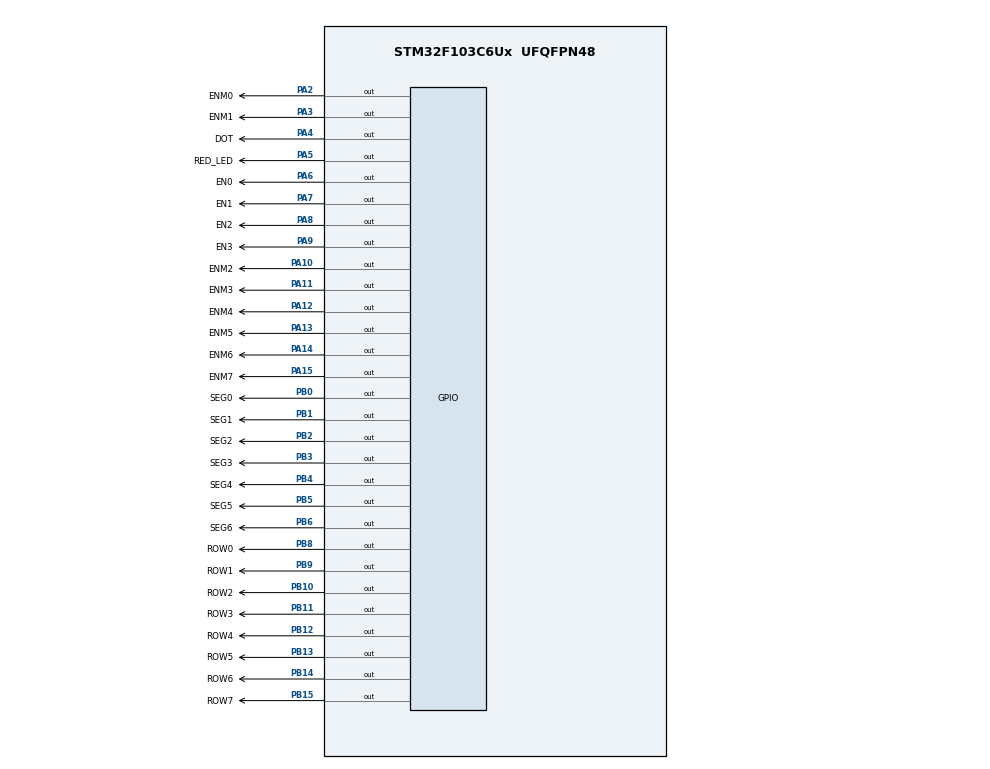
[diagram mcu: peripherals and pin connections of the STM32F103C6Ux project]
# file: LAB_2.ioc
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Mcu.Family=STM32F1
Mcu.Name=STM32F103C6Ux
Mcu.Package=UFQFPN48
NVIC.PriorityGroup=NVIC_PRIORITYGROUP_4
NVIC.TIM2_IRQn=true\:0\:0\:false\:false\:true\:true\:true
PA10.GPIO_Label=ENM2
PA10.Signal=GPIO_Output
PA11.GPIO_Label=ENM3
PA11.Signal=GPIO_Output
PA12.GPIO_Label=ENM4
PA12.Signal=GPIO_Output
PA13.GPIO_Label=ENM5
PA13.Signal=GPIO_Output
PA14.GPIO_Label=ENM6
PA14.Signal=GPIO_Output
PA15.GPIO_Label=ENM7
PA15.Signal=GPIO_Output
PA2.GPIO_Label=ENM0
PA2.Signal=GPIO_Output
PA3.GPIO_Label=ENM1
PA3.Signal=GPIO_Output
PA4.GPIO_Label=DOT
PA4.Signal=GPIO_Output
PA5.GPIO_Label=RED_LED
PA5.Signal=GPIO_Output
PA6.GPIO_Label=EN0
PA6.Signal=GPIO_Output
PA7.GPIO_Label=EN1
PA7.Signal=GPIO_Output
PA8.GPIO_Label=EN2
PA8.Signal=GPIO_Output
PA9.GPIO_Label=EN3
PA9.Signal=GPIO_Output
PB0.GPIO_Label=SEG0
PB0.Signal=GPIO_Output
PB1.GPIO_Label=SEG1
PB1.Signal=GPIO_Output
PB10.GPIO_Label=ROW2
PB10.Signal=GPIO_Output
PB11.GPIO_Label=ROW3
PB11.Signal=GPIO_Output
PB12.GPIO_Label=ROW4
PB12.Signal=GPIO_Output
PB13.GPIO_Label=ROW5
PB13.Signal=GPIO_Output
PB14.GPIO_Label=ROW6
PB14.Signal=GPIO_Output
PB15.GPIO_Label=ROW7
PB15.Signal=GPIO_Output
PB2.GPIO_Label=SEG2
PB2.Signal=GPIO_Output
PB3.GPIO_Label=SEG3
PB3.Signal=GPIO_Output
PB4.GPIO_Label=SEG4
PB4.Signal=GPIO_Output
PB5.GPIO_Label=SEG5
PB5.Signal=GPIO_Output
PB6.GPIO_Label=SEG6
PB6.Signal=GPIO_Output
PB8.GPIO_Label=ROW0
PB8.Signal=GPIO_Output
PB9.GPIO_Label=ROW1
PB9.Signal=GPIO_Output
ProjectManager.HeapSize=0x200
ProjectManager.StackSize=0x400
ProjectManager.TargetToolchain=STM32CubeIDE
RCC.APB1Freq_Value=8000000
RCC.APB2Freq_Value=8000000
TIM2.Period=9
TIM2.Prescaler=7999
VP_SYS_VS_ND.Mode=No_Debug
VP_TIM2_VS_ClockSourceINT.Mode=Internal
board=custom

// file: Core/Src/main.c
/* USER CODE BEGIN Header */
/**
  ******************************************************************************
  * @file           : main.c
  * @brief          : Main program body
  ******************************************************************************
  * @attention
  *
  * <h2><center>&copy; Copyright (c) 2025 STMicroelectronics.
  * All rights reserved.</center></h2>
  *
  * This software component is licensed by ST under BSD 3-Clause license,
  * the "License"; You may not use this file except in compliance with the
  * License. You may obtain a copy of the License at:
  *                        opensource.org/licenses/BSD-3-Clause
  *
  ******************************************************************************
  */
/* USER CODE END Header */
#include "main.h"

/* USER CODE BEGIN Includes */
#include "software_timer.h"
#include "ex10.h"
/* USER CODE END Includes */

TIM_HandleTypeDef htim2;

void SystemClock_Config(void);
static void MX_GPIO_Init(void);
static void MX_TIM2_Init(void);

int main(void)
{

  /* MCU Configuration--------------------------------------------------------*/

  /* Reset of all peripherals, Initializes the Flash interface and the Systick. */
  HAL_Init();

  /* USER CODE BEGIN Init */
void ValidPin(int index);
void display7SEG(int num);
  /* USER CODE END Init */

  /* Configure the system clock */
  SystemClock_Config();

  /* Initialize all configured peripherals */
  MX_GPIO_Init();
  MX_TIM2_Init();
  /* USER CODE BEGIN 2 */
  HAL_TIM_Base_Start_IT(&htim2);
  /* USER CODE END 2 */

  /* Infinite loop */
  /* USER CODE BEGIN WHILE */
  int index_led = 0;
  int index_led_matrix = 0;
  hour = 12, minute = 20, second = 55;

  HAL_GPIO_WritePin(GPIOA, DOT_Pin, SET);
  HAL_GPIO_WritePin(GPIOA, RED_LED_Pin, SET);

  clearAll();
  setTimer(0, 200);
  setTimer(1, 300);
  setTimer(2, 500);
  setTimer(3, 100);
  timer_flag[0] = timer_flag[1] = timer_flag[2] = timer_flag[3] = 1;
  int t = 0;
  while (1)
  {
  	  if (timer_flag[0] == 1){
  		  setTimer(0, 1000);
  		  //TODO PA5
  		  HAL_GPIO_TogglePin(RED_LED_GPIO_Port, RED_LED_Pin);
  		  HAL_GPIO_TogglePin(DOT_GPIO_Port, DOT_Pin);
  	  }
  	  if (timer_flag[1] == 1){
  		  setTimer(1, 250);
  		  //TASK MAIN
  		  update7SEG(index_led);
  		  index_led = (index_led + 1) % 4;
  	  }
  	  if (timer_flag[2] == 1){
  		  setTimer(2, 1000);
  		  second++;
  		  if (second >= 60){
  			  second = 0;
  			  minute++;
  		  }
  		  if (minute >= 60){
  			  minute = 0;
  			  hour++;
  		  }
  		  if (hour >= 24){
  			  hour = 0;
  		  }
  		  updateClockBuffer();
  	  }
  	  if (timer_flag[3] == 1){
  		  setTimer(3, 10);
  		  updateLEDMatrix(index_led_matrix);
  		  index_led_matrix = (index_led_matrix + 1) % 8;
  		  t++;
  		  if (t >= 8){
  			  shiftMatrixLeft();
  			  t = 0;
  		  }
  	  }
    /* USER CODE END WHILE */

  }
}

void SystemClock_Config(void)
{
  RCC_OscInitTypeDef RCC_OscInitStruct = {0};
  RCC_ClkInitTypeDef RCC_ClkInitStruct = {0};

  /** Initializes the RCC Oscillators according to the specified parameters
  * in the RCC_OscInitTypeDef structure.
  */
  RCC_OscInitStruct.OscillatorType = RCC_OSCILLATORTYPE_HSI;
  RCC_OscInitStruct.HSIState = RCC_HSI_ON;
  RCC_OscInitStruct.HSICalibrationValue = RCC_HSICALIBRATION_DEFAULT;
  RCC_OscInitStruct.PLL.PLLState = RCC_PLL_NONE;
  if (HAL_RCC_OscConfig(&RCC_OscInitStruct) != HAL_OK)
  {
    Error_Handler();
  }
  /** Initializes the CPU, AHB and APB buses clocks
  */
  RCC_ClkInitStruct.ClockType = RCC_CLOCKTYPE_HCLK|RCC_CLOCKTYPE_SYSCLK
                              |RCC_CLOCKTYPE_PCLK1|RCC_CLOCKTYPE_PCLK2;
  RCC_ClkInitStruct.SYSCLKSource = RCC_SYSCLKSOURCE_HSI;
  RCC_ClkInitStruct.AHBCLKDivider = RCC_SYSCLK_DIV1;
  RCC_ClkInitStruct.APB1CLKDivider = RCC_HCLK_DIV1;
  RCC_ClkInitStruct.APB2CLKDivider = RCC_HCLK_DIV1;

  if (HAL_RCC_ClockConfig(&RCC_ClkInitStruct, FLASH_LATENCY_0) != HAL_OK)
  {
    Error_Handler();
  }
}

static void MX_TIM2_Init(void)
{

  TIM_ClockConfigTypeDef sClockSourceConfig = {0};
  TIM_MasterConfigTypeDef sMasterConfig = {0};

  htim2.Instance = TIM2;
  htim2.Init.Prescaler = 7999;
  htim2.Init.CounterMode = TIM_COUNTERMODE_UP;
  htim2.Init.Period = 9;
  htim2.Init.ClockDivision = TIM_CLOCKDIVISION_DIV1;
  htim2.Init.AutoReloadPreload = TIM_AUTORELOAD_PRELOAD_DISABLE;
  if (HAL_TIM_Base_Init(&htim2) != HAL_OK)
  {
    Error_Handler();
  }
  sClockSourceConfig.ClockSource = TIM_CLOCKSOURCE_INTERNAL;
  if (HAL_TIM_ConfigClockSource(&htim2, &sClockSourceConfig) != HAL_OK)
  {
    Error_Handler();
  }
  sMasterConfig.MasterOutputTrigger = TIM_TRGO_RESET;
  sMasterConfig.MasterSlaveMode = TIM_MASTERSLAVEMODE_DISABLE;
  if (HAL_TIMEx_MasterConfigSynchronization(&htim2, &sMasterConfig) != HAL_OK)
  {
    Error_Handler();
  }

}

static void MX_GPIO_Init(void)
{
  GPIO_InitTypeDef GPIO_InitStruct = {0};

  /* GPIO Ports Clock Enable */
  __HAL_RCC_GPIOA_CLK_ENABLE();
  __HAL_RCC_GPIOB_CLK_ENABLE();

  /*Configure GPIO pin Output Level */
  HAL_GPIO_WritePin(GPIOA, ENM0_Pin|ENM1_Pin|DOT_Pin|RED_LED_Pin
                          |EN0_Pin|EN1_Pin|EN2_Pin|EN3_Pin
                          |ENM2_Pin|ENM3_Pin|ENM4_Pin|ENM5_Pin
                          |ENM6_Pin|ENM7_Pin, GPIO_PIN_RESET);

  /*Configure GPIO pin Output Level */
  HAL_GPIO_WritePin(GPIOB, SEG0_Pin|SEG1_Pin|SEG2_Pin|ROW2_Pin
                          |ROW3_Pin|ROW4_Pin|ROW5_Pin|ROW6_Pin
                          |ROW7_Pin|SEG3_Pin|SEG4_Pin|SEG5_Pin
                          |SEG6_Pin|ROW0_Pin|ROW1_Pin, GPIO_PIN_RESET);

  /*Configure GPIO pins : ENM0_Pin ENM1_Pin DOT_Pin RED_LED_Pin
                           EN0_Pin EN1_Pin EN2_Pin EN3_Pin
                           ENM2_Pin ENM3_Pin ENM4_Pin ENM5_Pin
                           ENM6_Pin ENM7_Pin */
  GPIO_InitStruct.Pin = ENM0_Pin|ENM1_Pin|DOT_Pin|RED_LED_Pin
                          |EN0_Pin|EN1_Pin|EN2_Pin|EN3_Pin
                          |ENM2_Pin|ENM3_Pin|ENM4_Pin|ENM5_Pin
                          |ENM6_Pin|ENM7_Pin;
  GPIO_InitStruct.Mode = GPIO_MODE_OUTPUT_PP;
  GPIO_InitStruct.Pull = GPIO_NOPULL;
  GPIO_InitStruct.Speed = GPIO_SPEED_FREQ_LOW;
  HAL_GPIO_Init(GPIOA, &GPIO_InitStruct);

  /*Configure GPIO pins : SEG0_Pin SEG1_Pin SEG2_Pin ROW2_Pin
                           ROW3_Pin ROW4_Pin ROW5_Pin ROW6_Pin
                           ROW7_Pin SEG3_Pin SEG4_Pin SEG5_Pin
                           SEG6_Pin ROW0_Pin ROW1_Pin */
  GPIO_InitStruct.Pin = SEG0_Pin|SEG1_Pin|SEG2_Pin|ROW2_Pin
                          |ROW3_Pin|ROW4_Pin|ROW5_Pin|ROW6_Pin
                          |ROW7_Pin|SEG3_Pin|SEG4_Pin|SEG5_Pin
                          |SEG6_Pin|ROW0_Pin|ROW1_Pin;
  GPIO_InitStruct.Mode = GPIO_MODE_OUTPUT_PP;
  GPIO_InitStruct.Pull = GPIO_NOPULL;
  GPIO_InitStruct.Speed = GPIO_SPEED_FREQ_LOW;
  HAL_GPIO_Init(GPIOB, &GPIO_InitStruct);

}

/* USER CODE BEGIN 4 */
void HAL_TIM_PeriodElapsedCallback(TIM_HandleTypeDef *htim){
	timerRun();
}
/* USER CODE END 4 */

void Error_Handler(void)
{
  __disable_irq();
  while (1)
  {
  }
}

/************************ (C) COPYRIGHT STMicroelectronics *****END OF FILE****/
